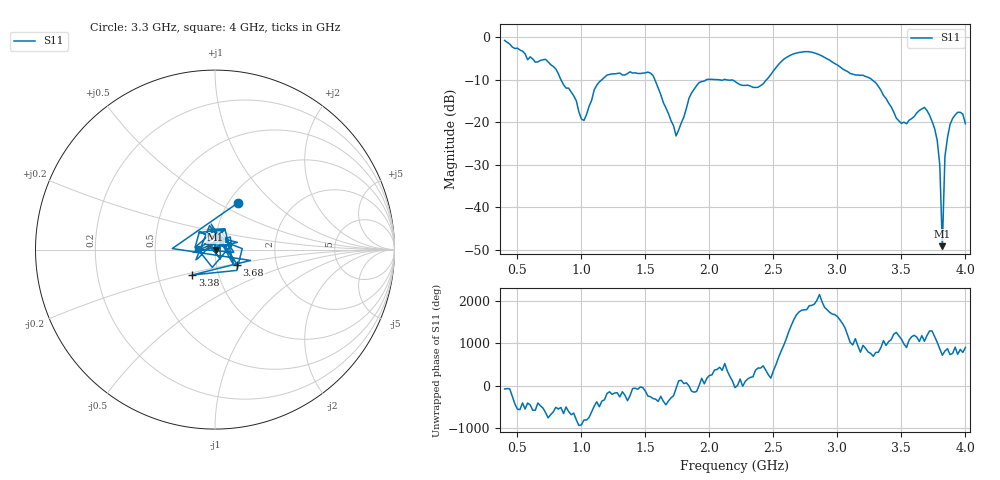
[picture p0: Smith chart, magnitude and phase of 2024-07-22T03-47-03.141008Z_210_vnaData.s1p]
!Created with skrf (http://scikit-rf.org).
# Hz S RI R 50.0
!freq ReS11 ImS11
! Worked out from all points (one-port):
!   181 points, 400 MHz to 4 GHz, reference 50 ohm
!   lowest |S11| = -49.2 dB at 3.82 GHz (marker M1), VSWR 1.01, Z = 50.3 - j0.0212 ohm
!   |S11| at or under -10 dB: 839.4 MHz to 1.16 GHz (321 MHz wide, 32.1 % of centre); 1.574 GHz to 1.977 GHz (403.4 MHz wide, 22.7 % of centre); 3.27 GHz to end of sweep (the widest 3 of 5)
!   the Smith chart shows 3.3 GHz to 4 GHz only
!   S11 on the Smith chart (normalised r, x): 3.3 GHz: 1.11, +0.63; 3.38 GHz: 0.75, -0.22; 3.68 GHz: 1.26, -0.22; 4 GHz: 0.83, +0.00
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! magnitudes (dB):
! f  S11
! 400 MHz  -0.8
! 580 MHz  -5.3
! 720 MHz  -5.2
! 860 MHz  -11.2
! 1.02 GHz  -19.6
! 1.12 GHz  -11.3
! 1.3 GHz  -8.4
! 1.54 GHz  -8.5
! 1.74 GHz  -23.2
! 1.76 GHz  -21.8
! 1.92 GHz  -10.7
! 2.2 GHz  -10.4
! 2.38 GHz  -11.8
! 2.66 GHz  -3.9
! 2.84 GHz  -3.9
! 3.1 GHz  -8.5
! 3.3 GHz  -10.7
! 3.38 GHz  -14.4
! 3.5 GHz  -20.3
! 3.56 GHz  -19.5
! 3.68 GHz  -16.5
! 3.78 GHz  -24.3
! 3.8 GHz  -30.1
! 3.82 GHz  -49.2
! 3.84 GHz  -28.2
! 3.86 GHz  -23.7
! 3.94 GHz  -17.7
! 4 GHz  -20.4
